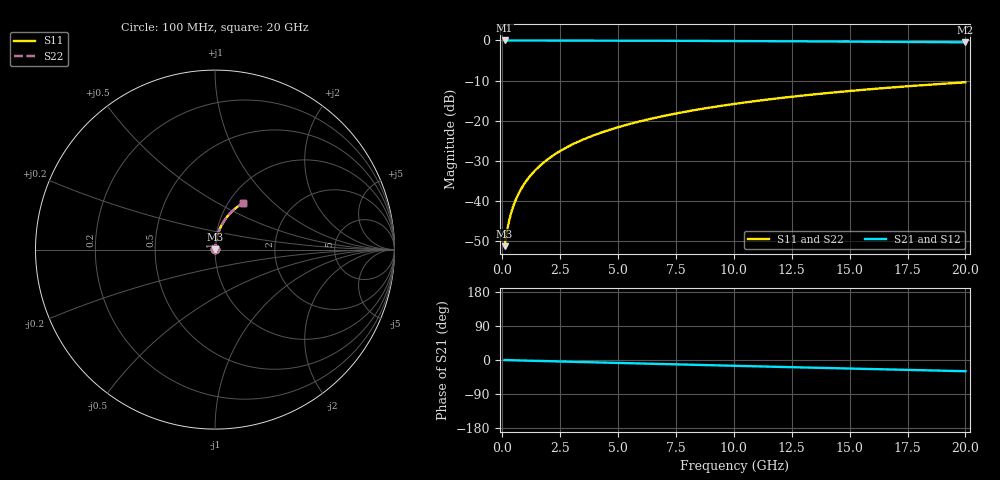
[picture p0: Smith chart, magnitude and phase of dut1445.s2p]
! Touchstone file exported from HFSS 2026.1.0
!  File:  C:/ffzhzh/LocalFiles/Ansys_Project_Files/temp_train_TMRDL_1445_1783167098_55132.aedt
!  Generated:  08:12:50 PM Jul  4, 2026
!  Design:  TMRDL
!  Project:  temp_train_TMRDL_1445_1783167098_55132
! Variables:
!  h_bsmrdl = 2um
!  h_ox = 20um
!  h_rdl = 5um
!  h_sub = 80um
!  h_tmrdl = 2.99um
!  h_tsv = 80um
!  h_via = 3um
!  l_bsmrdl = 300um
!  l_sub = 782.13um
!  l_tmrdl = 382.13um
!  m_sub = 200um
!  pitch = 57.45um
!  r_tsv = 6um
!  s_tmrdl = 10um
!  w_bsmrdl = 18um
!  w_sub = 500um
!  w_tmrdl = 25.67um
!  x_tsv_center1 = 394.965um
!  x_tsv_center2 = 712.965um
!  x_tsv_center3 = 1120.765um
!  x_tsv_center4 = 1438.765um
!  x_tsv_center5 = 1846.565um
!  x_tsv_center6 = 2164.565um
# GHz S MA R 50.000000
! Terminal data exported
! Port[1] = TM_RDL1_1_T1
! Port[2] = TM_RDL1_1_T2
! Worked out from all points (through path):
!   200 points, 100 MHz to 20 GHz, reference 50 ohm
!   highest |S21| = -0.02 dB at 100 MHz (marker M1); lowest = -0.5 dB at 20 GHz (marker M2)
!   group delay of S21, straight-line fit = 4.11 ps
!   lowest |S11| = -51.3 dB at 100 MHz (marker M3), VSWR 1.01, Z = 50.2 + j0.183 ohm
!   |S11| at or under -10 dB: start of sweep to end of sweep
!   |S22| runs from -51.3 to -10.4 dB; largest |S21 - S12| = 2.1e-15
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0.1  0.002733 41.7  0.998 -0.2  0.998 -0.2  0.002733 41.7
! Gamma 0 0 0 0
! Port Impedance 50 0 50 0
0.2  0.004184 59.2  0.9979 -0.3  0.9979 -0.3  0.004184 59.2
0.3  0.005781 66.8  0.9978 -0.5  0.9978 -0.5  0.005781 66.8
0.4  0.007398 71.1  0.9977 -0.6  0.9977 -0.6  0.007398 71.1
0.5  0.009016 73.8  0.9976 -0.8  0.9976 -0.8  0.009016 73.8
0.6  0.01063 75.7  0.9975 -1.0  0.9975 -1.0  0.01063 75.7
0.8  0.01388 78.2  0.9974 -1.3  0.9974 -1.3  0.01388 78.2
1.1  0.01879 80.2  0.9972 -1.7  0.9972 -1.7  0.01879 80.2
1.5  0.02537 81.5  0.997 -2.3  0.997 -2.3  0.02537 81.5
1.8  0.03032 82.0  0.9968 -2.8  0.9968 -2.8  0.03032 82.0
2.1  0.03528 82.2  0.9966 -3.3  0.9966 -3.3  0.03528 82.2
2.7  0.04519 82.1  0.9961 -4.2  0.9961 -4.2  0.04519 82.1
3.5  0.05836 81.5  0.9952 -5.4  0.9952 -5.4  0.05836 81.5
4.2  0.06983 80.8  0.9943 -6.5  0.9943 -6.5  0.06983 80.8
5  0.08284 79.8  0.993 -7.7  0.993 -7.7  0.08285 79.8
5.9  0.09736 78.7  0.9915 -9.1  0.9915 -9.1  0.09736 78.6
6.8  0.1117 77.4  0.9897 -10.5  0.9897 -10.5  0.1117 77.4
8.3  0.1353 75.3  0.9862 -12.7  0.9862 -12.7  0.1353 75.3
10.1  0.163 72.8  0.9815 -15.4  0.9815 -15.4  0.163 72.8
13.4  0.2116 68.1  0.9713 -20.3  0.9713 -20.3  0.2117 68.1
16.7  0.2575 63.5  0.9596 -25.0  0.9596 -25.0  0.2575 63.5
20  0.3004 59.1  0.9466 -29.6  0.9466 -29.6  0.3004 59.0
